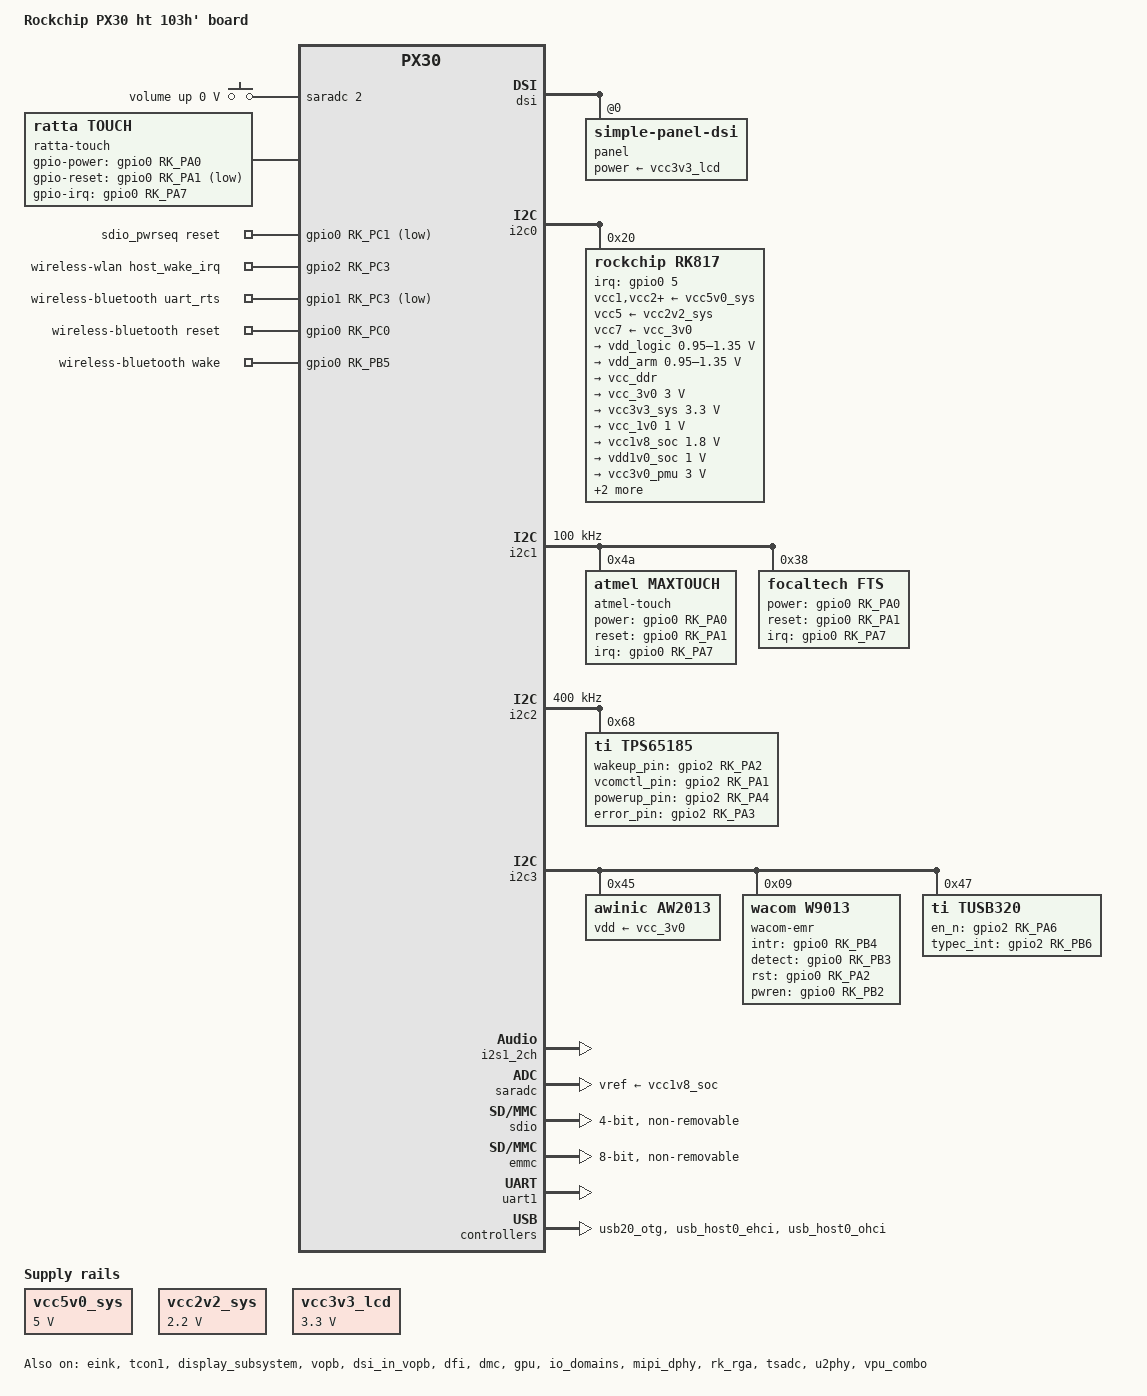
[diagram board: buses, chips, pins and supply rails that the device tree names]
/*
 * Copyright (c) 2017 Fuzhou Rockchip Electronics Co., Ltd
 *
 * SPDX-License-Identifier: (GPL-2.0+ OR MIT)
 */

/dts-v1/;
#include <dt-bindings/gpio/gpio.h>
#include <dt-bindings/pinctrl/rockchip.h>
#include <dt-bindings/input/input.h>
#include <dt-bindings/display/drm_mipi_dsi.h>
#include <dt-bindings/sensor-dev.h>
#include "px30.dtsi"
#include "px30-android.dtsi"
#include "px30-eink.dtsi"

//---------------------EINK PANEL------------------------
#define ES103		//10.3 soft
//#define ES103TC2	//10.3 glass.
//#define ES097
//#define ES060KC1		// 6in 300dpi
//#define ES060XCD		// 6in low solution.
//#define ES100UC1		// 10in glass.

//-----------------PCB VERSION---------------------------
//#define ES060_PCBV2


//-----------------TP/PEN---------------------------
//#define TP_CYT //super78
#define TP_FT5X //super103s
#define TP_ATMEL //super103s
#define TYPEC_HEADSET 

/ {
	model = "Rockchip PX30 ht 103h' board";
	compatible = "rockchip,px30-eink-103h", "rockchip,px30";

	rk_key: rockchip-key {
		compatible = "rockchip,key";
		status = "okay";
		
		#if 0  // 20191223: define at PMIC RK817.
		power-key {
			gpios = <&gpio0 5 GPIO_ACTIVE_LOW>;
			linux,code = <116>;
			pinctrl-names = "default";
			pinctrl-0 = <&pwrbtn>;
			label = "power";
			gpio-key,wakeup;
		};
		#endif 
		
//tanlq 20210923
		hall-key {
			gpios = <&gpio0 RK_PA3 GPIO_ACTIVE_LOW>;
			linux,code = <KEY_SLEEP>; 
			pinctrl-names = "default";
			pinctrl-0 = <&hallbtn>;
			label = "hall";

			// 20191227: 亮屏休眠的情况下，我们需要唤醒系统并进入待机休眠的状态。但是如果是
			// 待机休眠，则不需要有 wakeup 功能
			gpio-key,wakeup;
		};
		
	};

	adc-keys {
		compatible = "adc-keys";
		io-channels = <&saradc 2>;
		io-channel-names = "buttons";
		poll-interval = <100>;
		keyup-threshold-microvolt = <1800000>;
		status = "okay";


/*
		menu-key {
			linux,code = <KEY_MENU>;
			label = "menu";
			press-threshold-microvolt = <987000>;
		};
*/

		vol-up-key {
			linux,code = <KEY_VOLUMEUP>;
			label = "volume up";
			press-threshold-microvolt = <00000>;
		};
	};
	
	hardware {
		compatible =  "ratta,board";
		id = "a5x";
		status = "okay";
	};
#if 0
	hall_sensor {
		compatible =  "ratta,hall";
		pinctrl-names = "default";
		pinctrl-0 = <&hall_sensor_gpio>;
		gpios = <&gpio0 RK_PA3 GPIO_ACTIVE_HIGH>;
		hall-active = <1>;
		pmu-gpio-int-reg-base = <0xff040000>;
		pmu-gpio-int-reg-size = <0x100>;
		pmu-gpio-int-stat = <0x40>;
		pmu-gpio-int-mask = <0x20>;
		status = "okay";
	};

	leds: gpio-leds {
		compatible = "gpio-leds";
		pinctrl-names = "default";
		pinctrl-0 =<&leds_gpio>;
		status = "disabled"; //20191226: we ctrl led at battery-driver.

		led@1 {
			gpios = <&gpio1 RK_PD4 GPIO_ACTIVE_HIGH>; //v3
			label = "battery_led_red";
			retain-state-suspended;
		};

		led@2 {
			gpios = <&gpio1 RK_PD5 GPIO_ACTIVE_HIGH>; //v3
			label = "battery_led_green";
			retain-state-suspended;
		};
	};

	htfyun-hall_observe {
        compatible = "htfyun-hall_observe";
        hall-gpio = <&gpio0 RK_PA3 GPIO_ACTIVE_HIGH>; //v3
        //hall2-gpio = <&gpio1 RK_PD5 GPIO_ACTIVE_LOW>;
        //status = "okay";
	status = "disabled"; //20191226:current use one HALL-GPIO as sleep key.
	};
#endif
#ifdef TP_ATMEL
	ratta-touch {
		compatible = "ratta,touch";
		status = "okay";
		pinctrl-names = "default";
		pinctrl-0 = <&touch_panel_gpio>;
		ratta,gpio-power = <&gpio0 RK_PA0 GPIO_ACTIVE_HIGH>;
		ratta,gpio-reset = <&gpio0 RK_PA1 GPIO_ACTIVE_LOW>;
		ratta,gpio-irq = <&gpio0 RK_PA7 IRQ_TYPE_EDGE_RISING>;
	};
#endif
	rk809-sound {
		compatible = "simple-audio-card";
		simple-audio-card,format = "i2s";
		simple-audio-card,name = "rockchip,rk809-codec";
		simple-audio-card,mclk-fs = <256>;
		simple-audio-card,widgets =
			"Microphone", "Mic Jack",
			"Headphone", "Headphone Jack";
		simple-audio-card,routing =
			"Mic Jack", "MICBIAS1",
			"IN1P", "Mic Jack",
			"Headphone Jack", "HPOL",
			"Headphone Jack", "HPOR";
		simple-audio-card,cpu {
			sound-dai = <&i2s1_2ch>;
		};
		simple-audio-card,codec {
			sound-dai = <&rk809_codec>;
		};
	};
	rk_headset {
		compatible = "rockchip_headset";

		headset_gpio = <&gpio2 RK_PB0 GPIO_ACTIVE_LOW>;
		pinctrl-names = "default";
		pinctrl-0 = <&hp_det>;
		io-channels = <&saradc 1>;
		status = "disabled"; //20191226:use our headset from RK3288.
	};

	sdio_pwrseq: sdio-pwrseq {
		compatible = "mmc-pwrseq-simple";
		/*clocks = <&rk809 1>;*/
		/*clock-names = "ext_clock";*/
		pinctrl-names = "default";
		pinctrl-0 = <&wifi_enable_h>;

		/*
		 * On the module itself this is one of these (depending
		 * on the actual card populated):
		 * - SDIO_RESET_L_WL_REG_ON
		 * - PDN (power down when low)
		 */
		reset-gpios = <&gpio0 RK_PC1 GPIO_ACTIVE_LOW>; /* GPIO0_C1 */
	};

#if 0
	eink_power: eink-power {
		compatible = "regulator-fixed";
		regulator-name = "eink_power";
		gpio = <&gpio0 RK_PB2 GPIO_ACTIVE_HIGH>;
		enable-active-high;
		regulator-boot-on;
		regulator-always-on;
	};

#endif

	
        /*
	htfy_dump: htfy_dump {
		compatible = "htfy_dump";
		dumpmemory-region = <&dumpfs_reserved>;
		status = "disabled";
	};
	*/

	htfyun_headset_det {
		compatible = "htfyun,headset";

		// 20180205,NO-MIC needs.
		//io-channels = <&saradc 2>;
		io-channels = <&saradc 1>;

		#if 1
		// this is the value for xiaomi headset.--empty is 760（NOT insert value)
		// 不带MIC的耳机不能上报是MIC，否则无法录音。所以 mic-adc 用来判断是否插入了带MIC的耳机。
		// 目前的硬件只能支持苹果类型的耳机，诺基亚类型的耳机不支持。
		// ADC值：不插耳机 电压是1.5V，插上耳机电压是0.75V左右，耳机上的按键按下是0V,adc参考电压是 1.8V。
		// 如果耳机是0V，可以认为是不带麦？？如果是按着按键插入耳机呢？需要等待按键松开了才能判断是否带MIC。
		// 所以驱动里面 adc_check_work_callback 函数要有顺序之分。
		// 如果数值 == 0 ，表示只要ADC 大于0就是有MIC（考虑误差之后）。
		// 陈飞的耳机插入后adc值： hs_det:read adc value=676
		// 20180928: 不插入耳机： 1.8V，插入 3段耳机： 0V, 四段耳机 > 0.5V
		// 小米耳机： hs_det:read adc value=692
		mic-adc = <280>;  // 0.5*1023/1.8 = 284

		// if we don't have these key,don't define it!
		//media-adc = <7>;  //media key press.-- if NOT ,don't define.

		// 20180827: don't need UP/DOWN!
		//volup-adc = <75>;  //volup key press. -- if NOT ,don't define.
		//voldown-adc = <162>;  //voldown key preess. -- if NOT ,don't define.
		#else
		// this is the value for apple headset.
		mic-adc = <553>;  //the headset with MIC adc value.
		media-adc = <9>;  //media key press.
		volup-adc = <74>;  //volup key press.
		voldown-adc = <141>;  //voldown key preess.
		#endif

		//debug-adc = <279>;  //the debug adc to report a debug key.-- KEY_RO 89

		//20191226: unplug: LOW , plug: HIGH.
		//headset_gpio = <&gpio0 RK_PA2 GPIO_ACTIVE_HIGH>; //supernote

		// 20170824,this make the music auto play when headset unplug(play internal/external sd)
		//unplug_report_key; // 20170510,weather we want to report media key when heaset unplug

		adc_sample_ms = <150>; // the period when loop to sample adc value.default is 200ms.

		status = "disable";//1.8v上拉电压休眠时会掉，造成耳机中断，不能进入休眠 "okay"; //disabled
  };
#if 0
  regulators { 
  	compatible = "simple-bus"; 
  	#address-cells = <1>; 
  	#size-cells = <0>; 
  	vccio_1v8_reg: regulator@0 {
  	  compatible = "regulator-fixed"; 
  	  regulator-name = "vccio_1v8"; 
  	  regulator-min-microvolt = <1800000>; 
  	  regulator-max-microvolt = <1800000>; 
  	  regulator-state-mem {
			regulator-on-in-suspend;
			regulator-suspend-microvolt = <950000>;
		};
  	}; 
  };
#endif
	vcc5v0_sys: vccsys {
		compatible = "regulator-fixed";
		regulator-name = "vcc5v0_sys";
		regulator-always-on;
		regulator-boot-on;
		regulator-min-microvolt = <5000000>;
		regulator-max-microvolt = <5000000>;
	};

	vcc2v2_sys: vccsys_2v2 {
		compatible = "regulator-fixed";
		regulator-name = "vcc2v2_sys";
		regulator-always-on;
		regulator-boot-on;
		regulator-min-microvolt = <2200000>;
		regulator-max-microvolt = <2200000>;
	};

	vcc3v3_lcd: vcc3v3_lcd {
		compatible = "regulator-fixed";
		regulator-name = "vcc3v3_lcd";
		regulator-always-on;
		regulator-boot-on;
		regulator-min-microvolt = <3300000>;
		regulator-max-microvolt = <3300000>;
	};

	wireless-wlan {
		compatible = "wlan-platdata";
		wifi_chip_type = "ap6256";
		WIFI,host_wake_irq = <&gpio2 RK_PC3 GPIO_ACTIVE_HIGH>;//<&gpio2 RK_PA1 GPIO_ACTIVE_HIGH>;
		
		// 20191223,hsl add. --2019124:this gpio ctrl wifi/i2c2/4g power.so don't ctrl here.
		//WIFI,poweren_gpio = <&gpio0 RK_PA6 GPIO_ACTIVE_HIGH>;
		status = "okay";
	};

	wireless-bluetooth {
		compatible = "bluetooth-platdata";
		clocks = <&rk817 1>;
		clock-names = "ext_clock";
		uart_rts_gpios = <&gpio1 RK_PC3 GPIO_ACTIVE_LOW>;
		pinctrl-names = "default","rts_gpio";
		pinctrl-0 = <&uart1_rts>;
		pinctrl-1 = <&uart1_rts_gpio>;
		BT,reset_gpio = <&gpio0 RK_PC0 GPIO_ACTIVE_HIGH>;
		BT,wake_gpio = <&gpio0 RK_PB5 GPIO_ACTIVE_HIGH>;
		
		// 20191227:这个功能主要用于蓝牙设备唤醒系统，比如蓝牙键盘，目前我们不需要。如果此处定义了，由于系统进入灭屏
		// 休眠后会关闭整组 GPIO2的电源，所以会产生低电平触发，导致系统产生中断而阻止进入休眠.
		//BT,wake_host_irq = <&gpio0 RK_PB7 GPIO_ACTIVE_HIGH>;
		status = "okay";
	};

	fiq-debugger {
			compatible = "rockchip,fiq-debugger";
			status = "okay"; // "okay"; //"disabled";// 
	};
};

&eink {
	status = "okay";
	tcon = <&tcon1>;
	ext_uifc;	// 20210804: 需要额外的 UIFC buffer 来支持 native 手写。
	
	// 20191204: only add for debug. --20191224:use to ctrl power supplay for GPIO/I2C2/WIFI.
	//htfy,dbg-gpio = <&gpio2 RK_PA7 GPIO_ACTIVE_HIGH>;
	//htfy,dbg-gpio = <&gpio0 RK_PA6 GPIO_ACTIVE_HIGH>;
	//pinctrl-names = "default";
	//pinctrl-0 = <&tcon_pwr>;
	
	/* ES103TC1 */
#if defined(ES103)
		panel,width = <1872>;
		panel,height = <1404>;
		panel,vir_width = <1872>;
		panel,vir_height = <1404>;
		panel,sdck = <33300000>;
		panel,pixels-per-sdck = <8>;
		panel,lsl = <11>;
		panel,lbl = <8>;
		panel,ldl = <234>;
		panel,lel = <23>;
		panel,gdck-sta = <10>;
		panel,lgonl = <215>;
		panel,fsl = <1>;
		panel,fbl = <4>;
		panel,fdl = <1404>;
		panel,fel = <2>; // supernote
		panel,vcom-mv = <1560>;
#elif defined(ES103TC2)
		panel,width = <1872>;
		panel,height = <1404>;
		panel,vir_width = <1872>;
		panel,vir_height = <1404>;
		panel,sdck = <33300000>;
		panel,pixels-per-sdck = <8>;
		panel,lsl = <18>;
		panel,lbl = <17>;
		panel,ldl = <234>;
		panel,lel = <7>;
		panel,gdck-sta = <34>;
		panel,lgonl = <192>;
		panel,fsl = <1>;
		panel,fbl = <3>;
		panel,fdl = <1404>;
		panel,fel = <1>;
		panel,vcom-mv = <1710>;
		panel,mirror = <1>;
#elif defined(ES100UC1)
		panel,width = <1600>;
		panel,height = <1200>;
		panel,vir_width = <1600>;
		panel,vir_height = <1200>;
		panel,sdck = <30000000>;
		panel,pixels-per-sdck = <8>;
		panel,lsl = <10>;
		panel,lbl = <7>;
		panel,ldl = <200>;
		panel,lel = <73>;
		panel,gdck-sta = <15>;
		panel,lgonl = <243>;
		panel,fsl = <1>;
		panel,fbl = <4>;
		panel,fdl = <1200>;
		panel,fel = <1>;
		panel,vcom-mv = <1580>;	
#elif defined(ES097)  /* ED097TC2U1 */
		panel,width = <1200>;
		panel,height = <825>;
		panel,vir_width = <1200>;
		panel,vir_height = <832>;
		panel,sdck = <30000000>;
		panel,pixels-per-sdck = <4>;
		panel,lsl = <4>;
		panel,lbl = <4>;
		panel,ldl = <300>;
		panel,lel = <36>;
		panel,gdck-sta = <18>;
		panel,lgonl = <265>;
		panel,fsl = <2>;
		panel,fbl = <4>;
		panel,fdl = <825>;
		panel,fel = <24>;
		panel,vcom-mv = <1930>;
#elif defined(ES060KC1)
	  panel,width = <1448>;
	  panel,height = <1072>;
	  panel,vir_width = <1456>;	//20200904,hsl: 64bit needs 16pixel align,maybe cache problem when memset.
	  panel,vir_height = <1072>;
	  panel,sdck = <40000000>;
	  panel,pixels-per-sdck = <4>;
	  panel,lsl = <14>;
	  panel,lbl = <8>;
	  panel,ldl = <362>;
	  panel,lel = <51>;
	  panel,gdck-sta = <100>;
	  panel,lgonl = <281>;
	  panel,fsl = <2>;
	  panel,fbl = <4>;
	  panel,fdl = <1072>;
	  panel,fel = <4>;
	  panel,vcom-mv = <2250>;
#elif defined(ES060XCD)
	  panel,width = <1024>;
	  panel,height = <758>;
	  panel,vir_width = <1024>;	 
	  panel,vir_height = <758>;
	  panel,sdck = <20000000>;
	  panel,pixels-per-sdck = <4>;
	  panel,lsl = <6>;
	  panel,lbl = <6>;
	  panel,ldl = <256>;
	  panel,lel = <38>;
	  panel,gdck-sta = <4>;
	  panel,lgonl = <262>;
	  panel,fsl = <2>;
	  panel,fbl = <4>;
	  panel,fdl = <758>;
	  panel,fel = <5>;
	  panel,vcom-mv = <2250>;
#else
	 "***Please Define EINK-PANEL first!!***"
#endif
};

&tcon1 {
	status = "okay";
};

// 20191005: the size is about 7* vir_w * vir_h .
// fb_new/fb_old/fc/idx/auto/2*lcdc/wv_buf.
// ReservedMem:total size=6291456,lcd data size=1568800,fb_size=2628288,remain=1034880
// 20191120: 6*fb_size + 2*lcd_size + 1M.   
// 20210804：增加一个 fb_size 用于存放 ptr-ui-fc.
&display_reserved {
	reg = <0x0 0x10000000 0x0 0x1500000>;
	no-map;
};


&display_subsystem {
	force-disconnected;
	status = "okay";
};

&vopb {
	status = "okay";
};

&vopb_mmu {
	status = "okay";
};

&vopl {
	status = "disabled";
};

&vopl_mmu {
	status = "disabled";
};

&dsi {
	status = "okay";

	panel@0 {
		compatible = "simple-panel-dsi";
		reg = <0>;
		power-supply = <&vcc3v3_lcd>; // supernote
		prepare-delay-ms = <2>;
		reset-delay-ms = <1>;
		init-delay-ms = <20>;
		enable-delay-ms = <120>;
		disable-delay-ms = <50>;
		unprepare-delay-ms = <20>;

		width-mm = <68>;
		height-mm = <121>;

		dsi,flags = <(MIPI_DSI_MODE_VIDEO | MIPI_DSI_MODE_VIDEO_BURST |
			      MIPI_DSI_MODE_LPM | MIPI_DSI_MODE_EOT_PACKET)>;
		dsi,format = <MIPI_DSI_FMT_RGB888>;
		dsi,lanes = <4>;
		display-timings {
			native-mode = <&timing0>;

			timing0: timing0 {
				clock-frequency = <64000000>;
				hactive = <720>;
				vactive = <1280>;
				hfront-porch = <40>;
				hsync-len = <10>;
				hback-porch = <40>;
				vfront-porch = <22>;
				vsync-len = <4>;
				vback-porch = <11>;
				hsync-active = <0>;
				vsync-active = <0>;
				de-active = <0>;
				pixelclk-active = <0>;
			};
		};
	};
};

&dsi_in_vopl {
	status = "disabled";
};

&dsi_in_vopb {
        status = "okay";
};

&route_dsi {
	status = "disabled";
};

&bus_apll {
	bus-supply = <&vdd_logic>;
	status = "okay";
};

&cpu0 {
	cpu-supply = <&vdd_arm>;
};

&dfi {
	status = "okay";
};

&dmc {
	center-supply = <&vdd_logic>;
	status = "okay";
};

&gpu {
	mali-supply = <&vdd_logic>;
	status = "okay";
};

&i2c0 {
	status = "okay";

	rk817: pmic@20 {
		compatible = "rockchip,rk817";
		reg = <0x20>;
		interrupt-parent = <&gpio0>;
		interrupts = <5 IRQ_TYPE_LEVEL_LOW>;
		pinctrl-names = "default", "pmic-sleep";
				//"pmic-power-off", "pmic-reset";
		pinctrl-0 = <&pmic_int>, <&rk817_pin_gt>;
		pinctrl-1 = <&soc_slppin_slp>, <&rk817_slppin_slp>;
		//pinctrl-2 = <&soc_slppin_gpio>, <&rk817_slppin_pwrdn>;
		//pinctrl-3 = <&soc_slppin_rst>, <&rk817_slppin_rst>;
		rockchip,system-power-controller;
		wakeup-source;
		#clock-cells = <1>;
		clock-output-names = "rk808-clkout1", "rk808-clkout2";
		//fb-inner-reg-idxs = <2>;
		/* 1: rst regs (default in codes), 0: rst the pmic */
		pmic-reset-func = <0>;
		pmic-sleep-reverse;

		vcc1-supply = <&vcc5v0_sys>;
		vcc2-supply = <&vcc5v0_sys>;
		vcc3-supply = <&vcc5v0_sys>;
		vcc4-supply = <&vcc5v0_sys>;
		vcc5-supply = <&vcc2v2_sys>;
		vcc6-supply = <&vcc5v0_sys>;
		vcc7-supply = <&vcc_3v0>;
		vcc8-supply = <&vcc5v0_sys>;
		vcc9-supply = <&vcc5v0_sys>;

		pwrkey {
			status = "okay";
		};

		pinctrl_rk8xx: pinctrl_rk8xx {
			gpio-controller;
			#gpio-cells = <2>;

			rk817_ts_gpio1: rk817_ts_gpio1 {
				pins = "gpio_ts";
				function = "pin_fun1";
				/* output-low; */
				/* input-enable; */
			};

			rk817_gt_gpio2: rk817_gt_gpio2 {
				pins = "gpio_gt";
				function = "pin_fun1";
			};

			rk817_pin_ts: rk817_pin_ts {
				pins = "gpio_ts";
				function = "pin_fun0";
			};

			rk817_pin_gt: rk817_pin_gt {
				pins = "gpio_gt";
				function = "pin_fun0";
			};

			rk817_slppin_null: rk817_slppin_null {
				pins = "gpio_slp";
				function = "pin_fun0";
			};

			rk817_slppin_slp: rk817_slppin_slp {
				pins = "gpio_slp";
				function = "pin_fun1";
			};

			rk817_slppin_pwrdn: rk817_slppin_pwrdn {
				pins = "gpio_slp";
				function = "pin_fun2";
			};

			rk817_slppin_rst: rk817_slppin_rst {
				pins = "gpio_slp";
				function = "pin_fun3";
			};
		};

		regulators {
			vdd_logic: DCDC_REG1 {
				regulator-always-on;
				regulator-boot-on;
				regulator-min-microvolt = <950000>;
				regulator-max-microvolt = <1350000>;
				regulator-ramp-delay = <6001>;
				regulator-initial-mode = <0x2>;
				regulator-name = "vdd_logic";
				regulator-state-mem {
					regulator-on-in-suspend;
					regulator-suspend-microvolt = <950000>;
				};
			};

			vdd_arm: DCDC_REG2 {
				regulator-always-on;
				regulator-boot-on;
				regulator-min-microvolt = <950000>;
				regulator-max-microvolt = <1350000>;
				regulator-ramp-delay = <6001>;
				regulator-initial-mode = <0x2>;
				regulator-name = "vdd_arm";
				regulator-state-mem {
					regulator-off-in-suspend;
					regulator-suspend-microvolt = <950000>;
				};
			};

			vcc_ddr: DCDC_REG3 {
				regulator-always-on;
				regulator-boot-on;
				regulator-name = "vcc_ddr";
				regulator-initial-mode = <0x2>;
				regulator-state-mem {
					regulator-on-in-suspend;
				};
			};

			vcc_3v0: DCDC_REG4 {
				regulator-always-on;
				regulator-boot-on;
				regulator-min-microvolt = <3000000>;
				regulator-max-microvolt = <3000000>;
				regulator-initial-mode = <0x2>;
				regulator-name = "vcc_3v0";
				regulator-state-mem {
					regulator-on-in-suspend;  // 20210713: on when screen-on sleep for TP/PEN. 
					regulator-off-in-suspend;  
					regulator-suspend-microvolt = <3000000>;
				};
			};

			vcc3v3_sys: DCDC_REG5 {
				regulator-always-on;
				regulator-boot-on;
				regulator-min-microvolt = <3300000>;
				regulator-max-microvolt = <3300000>;
				regulator-name = "vcc3v3_sys";
				regulator-state-mem {
					regulator-on-in-suspend;
					regulator-suspend-microvolt = <3300000>;
				};
			};

			vcc_1v0: LDO_REG1 {
				regulator-always-on;
				regulator-boot-on;
				regulator-min-microvolt = <1000000>;
				regulator-max-microvolt = <1000000>;
				regulator-name = "vcc_1v0";
				regulator-state-mem {
					regulator-off-in-suspend;
					regulator-suspend-microvolt = <1000000>;
				};
			};

			vcc1v8_soc: LDO_REG2 {
				regulator-always-on;
				regulator-boot-on;
				regulator-min-microvolt = <1800000>;
				regulator-max-microvolt = <1800000>;

				regulator-name = "vcc1v8_soc";
				regulator-state-mem {
					regulator-on-in-suspend;
					regulator-suspend-microvolt = <1800000>;
				};
			};

			vdd1v0_soc: LDO_REG3 {
				regulator-always-on;
				regulator-boot-on;
				regulator-min-microvolt = <1000000>;
				regulator-max-microvolt = <1000000>;

				regulator-name = "vcc1v0_soc";
				regulator-state-mem {
					regulator-on-in-suspend;
					regulator-suspend-microvolt = <1000000>;
				};
			};

			vcc3v0_pmu: LDO_REG4 {
				regulator-always-on;
				regulator-boot-on;
				regulator-min-microvolt = <3000000>;
				regulator-max-microvolt = <3000000>;

				regulator-name = "vcc3v0_pmu";
				regulator-state-mem {
					regulator-on-in-suspend;
					regulator-suspend-microvolt = <3000000>;

				};
			};

			vccio_sd: LDO_REG5 {
				regulator-boot-on;
				regulator-min-microvolt = <1800000>;
				regulator-max-microvolt = <3300000>;

				regulator-name = "vccio_sd";
				regulator-state-mem {
					//regulator-on-in-suspend;//tanlq 191024
					regulator-off-in-suspend;
					regulator-suspend-microvolt = <3300000>;
				};
			};
			
			// 20191227:don't use
			vcc_sd: LDO_REG6 {
				//regulator-boot-on;
				//regulator-always-on;	 
				regulator-min-microvolt = <3300000>;
				regulator-max-microvolt = <3300000>;

				regulator-name = "vcc_sd";
				regulator-state-mem {
					//regulator-on-in-suspend; 
					regulator-off-in-suspend; 
					regulator-suspend-microvolt = <3300000>;

				};
			};

			vcc2v8_dvp: LDO_REG7 {
				regulator-always-on;
				regulator-boot-on;
				regulator-min-microvolt = <2800000>;
				regulator-max-microvolt = <2800000>;

				regulator-name = "vcc2v8_dvp";
				regulator-state-mem {
					regulator-off-in-suspend;
					regulator-suspend-microvolt = <2800000>;
				};
			};

			vcc1v8_dvp: LDO_REG8 {
				regulator-always-on;
				regulator-boot-on;
				regulator-min-microvolt = <1800000>;
				regulator-max-microvolt = <1800000>;

				regulator-name = "vcc1v8_dvp";
				regulator-state-mem {
					regulator-off-in-suspend;
					regulator-on-in-suspend;
					regulator-suspend-microvolt = <1800000>;
				};
			};

			vdd1v5_dvp: LDO_REG9 {	
				regulator-always-on;
				regulator-boot-on;
				regulator-min-microvolt = <1500000>;
				regulator-max-microvolt = <1500000>;

				regulator-name = "vdd1v5_dvp";
				
				// 20191207, use for wacom power. and ctrl by fb when suspend.
				regulator-state-mem {
					regulator-off-in-suspend;		
					regulator-on-in-suspend;
					regulator-suspend-microvolt = <1500000>;
				};
			
			};

			dcdc_boost: BOOST {
				regulator-always-on;
				regulator-boot-on;
				regulator-min-microvolt = <4700000>;
				regulator-max-microvolt = <5400000>;
				regulator-name = "boost";
			};

			otg_switch: OTG_SWITCH {
				regulator-boot-on;
				regulator-name = "otg_switch";
			};
		};
		battery {
			compatible = "rk817,battery";
			ocv_table = <3400 3648 3679 3711 3733 3750 3762
				3774 3788 3807 3830 3862 3910 3955
				3993 4055 4105 4161 4219 4279 4346>;
			design_capacity = <3953>;	// 这个是 FCC 。
			design_qmax = <4180>;		// 20210227,hsl: 这个值限定了电池充满后最大的可能电量。
			bat_res = <100>;			// 这个是 电池内阻。
			sleep_enter_current = <300>;
			sleep_exit_current = <300>;
			sleep_filter_current = <100>;
			power_off_thresd = <3500>;    //20210225,hsl change.
			zero_algorithm_vol = <3950>;
			max_soc_offset = <60>;
			monitor_sec = <10>;  //20191229,hsl fix.
			sample_res = <10>;		// 这个是采样电阻，目前用的是 10毫欧。
			virtual_power = <0>;
		
			// 20191229,hsl add.
			pinctrl-names = "default";
			//pinctrl-0 =<&leds_gpio>; supernote 暂时屏蔽
			//rled_gpios = <&gpio2 RK_PB0 GPIO_ACTIVE_HIGH>; // V3 light on high.
			//gled_gpios = <&gpio2 RK_PB2 GPIO_ACTIVE_HIGH>; // v3
			
			// 20211028: 根据supernote需求增加 2个LED电量指示：
			/*
			红色长亮（充电状态下）：电池电量低。(<20%)
			黄色长亮（充电状态下）：电池电量中。(21%-80%)
			黄色长亮（充电状态下）：电池电量高。(81%-99%)
			绿色亮（充电状态下）：充电接近完成或已经完成。（>99%）
			红灯亮：电量低于1%
			*/
			tri-led = <20 80 99 1>;

		};

		charger {
			compatible = "rk817,charger";
			min_input_voltage = <4500>;
			max_input_current = <1800>;	// 20191230,hsl fix.
			max_chrg_current = <2000>;
			max_chrg_voltage = <4350>;
			chrg_term_mode = <0>;  // 0: CHRG_ANALOG, 1: CHRG_DIGITAL
			chrg_finish_cur = <150>;  // 20210227: 墨水屏上面亮屏待机情况下，功耗比较少，可以改低这个值.
			virtual_power = <0>;
			dc_det_adc = <0>;
			extcon = <&u2phy>;
		};

		rk809_codec: codec {
			#sound-dai-cells = <0>;
			compatible = "rockchip,rk809-codec", "rockchip,rk817-codec";
			clocks = <&cru SCLK_I2S1_OUT>;
			clock-names = "mclk";
			pinctrl-names = "default";
			pinctrl-0 = <&i2s1_2ch_mclk>;
			hp-volume = <20>;
			spk-volume = <3>;
			status = "okay";
		};
	};

};

#define MXT_SUSPEND_DEEP_SLEEP 0
&i2c1 {
	status = "okay";

	clock-frequency = <100000>;
	pinctrl-names = "default";
	//power-gpio = <&gpio0 RK_PA6 GPIO_ACTIVE_HIGH>;
#ifdef TP_ATMEL
	atmel-touch@4a {
		reg = <0x4a>;
		compatible = "atmel,maxtouch";
		status = "okay";
		interrupt-parent = <&gpio0>;
		interrupts = <RK_PA7 IRQ_TYPE_EDGE_FALLING>;
		atmel,power-gpio =<&gpio0 RK_PA0 GPIO_ACTIVE_HIGH>;
		atmel,reset-gpio = <&gpio0 RK_PA1 GPIO_ACTIVE_HIGH>;
		atmel,suspend-mode = <MXT_SUSPEND_DEEP_SLEEP>;
		atmel,cfg_name="maxtouch_a5x.cfg";
		atmel,cfg_name1="maxtouch.raw";//maxtouch_a5x.cfg";
		atmel,cfg_name2="maxtouch874.raw";//maxtouch_a5x.cfg";
		atmel,fw_name="maxtouch_a5x_2.3.AC.fw";
		atmel,xres = <1400>;
		atmel,yres = <1871>;
	};
#endif
#ifdef TP_FT5X	
		focaltech@38{ 
			compatible = "focaltech,fts";	
			reg = <0x38>;  					
			interrupt-parent = <&gpio0>;				
			interrupts = <RK_PA7 IRQ_TYPE_EDGE_FALLING>;
			pinctrl-names = "default";
			pinctrl-0 = <&touch_panel_gpio>;
			focaltech,power-gpio =<&gpio0 RK_PA0 GPIO_ACTIVE_HIGH>;
			focaltech,reset-gpio = <&gpio0 RK_PA1 GPIO_ACTIVE_HIGH>; 
			focaltech,irq-gpio = <&gpio0 RK_PA7 IRQ_TYPE_EDGE_FALLING>; 	
			focaltech,max-touch-number = <10>;			
			focaltech,display-coords =  <0 0 1872 1404>;	 
			exchange_x_y_flag = <0>;
			revert_x_flag = <1>;
			revert_y_flag = <0>;
			//pinctrl-names = "pmx_ts_active","pmx_ts_suspend","pmx_ts_release";
			//pinctrl-0 = <&ts_active>;//<&ts_power_active>, <&ts_int_active>, <&ts_reset_active>;
			//pinctrl-1 = <&ts_suspend>;//<&ts_power_suspend &ts_int_suspend &ts_reset_suspend>;
			//pinctrl-2 = <&ts_release>;

			/*
			focaltech,have-key;
			focaltech,key-number = <3>;	
			focaltech,keys = <139 102 158>; 	
			focaltech,key-x-coords = <200 600 800>;
			focaltech,key-y-coords = <2000 2000 2000>; 
			*/
		};
#endif
};

&i2c2 {
	status = "okay";

	clock-frequency = <400000>;

	/* These are relatively safe rise/fall times; TODO: measure */
	//i2c-scl-falling-time-ns = <60>;
	//i2c-scl-rising-time-ns = <350>;
	
	tps65185@68 {
		status = "okay";
		compatible = "ti,tps65185";
		reg = <0x68>;
		pinctrl-names = "default";
		pinctrl-0 = <&tps65185_gpio>;
		wakeup_pin = <&gpio2 RK_PA2 GPIO_ACTIVE_HIGH>;
		vcomctl_pin = <&gpio2 RK_PA1 GPIO_ACTIVE_HIGH>;
		powerup_pin = <&gpio2 RK_PA4 GPIO_ACTIVE_HIGH>;
		//eink_int_pin = <&gpio2 RK_PA6 GPIO_ACTIVE_LOW>;//<&gpio0 RK_PB7 GPIO_ACTIVE_LOW>;
		error_pin = <&gpio2 RK_PA3 GPIO_ACTIVE_HIGH>; //<&gpio0 RK_PA1 GPIO_ACTIVE_HIGH>;
		//poweren_pin = <&gpio2 RK_PA5 GPIO_ACTIVE_HIGH>;
	};

};

&i2c3 {
	status = "okay";
	awinic: aw2013@45{
		compatible = "awinic,aw2013";
		reg = <0x45>;
		vdd-supply = <&vcc_3v0>;
		pinctrl-names = "default";
		pinctrl-0 = <&awinic_gpio>;
		
		aw2013,red {
			aw2013,name = "red";
			aw2013,id = <0>;
			aw2013,max-brightness = <255>;
			aw2013,max-current = <1>;
			aw2013,rise-time-ms = <2>;
			aw2013,hold-time-ms = <1>;
			aw2013,fall-time-ms = <2>;
			aw2013,off-time-ms = <1>;
		};

		aw2013,green {
			aw2013,name = "green";
			aw2013,id = <1>;
			aw2013,max-brightness = <255>;
			aw2013,max-current = <1>;
			aw2013,rise-time-ms = <2>;
			aw2013,hold-time-ms = <1>;
			aw2013,fall-time-ms = <2>;
			aw2013,off-time-ms = <1>;
		};

		aw2013,blue {
			aw2013,name = "blue";
			aw2013,id = <2>;
			aw2013,max-brightness = <255>;
			aw2013,max-current = <1>;
			aw2013,rise-time-ms = <2>;
			aw2013,hold-time-ms = <1>;
			aw2013,fall-time-ms = <2>;
			aw2013,off-time-ms = <1>;
		};
	};
#if 0
	wacom@09 {
		compatible = "hid-over-i2c";
		reg = <0x09>;

		irq_gpio = <&gpio0 RK_PB4 GPIO_ACTIVE_LOW>; //GPIO0 A7

		pwr_gpio = <&gpio0 RK_PB2 GPIO_ACTIVE_HIGH>; //GPIO0 B3
		reset_gpio = <&gpio0 RK_PA2 GPIO_ACTIVE_LOW>;  // GPIO0 B4

		//NO-PEN:high, detect pen: low.
		pendet_gpio = <&gpio0 RK_PB3 GPIO_ACTIVE_LOW>; //GPIO0 B1

		// 20180212,hsl add fb_notify support.
		hid-support-wakeup;

		hid-descr-addr = <0x0001>;
		//vcc-supply = <&gpio7 14  GPIO_ACTIVE_LOW>;
		//vcc-supply = <&vdd1v5_dvp>;
		//power-gpio = <&gpio7 14  GPIO_ACTIVE_LOW>;
		//wakeup-source; // 20180913,hsl rm.

	   status= "okay"; // "disabled"; //okay";
	};
#else
	wacom-emr@09 {
		compatible = "wacom,w9013";
		reg = <0x09>;
		status = "okay";
		pinctrl-names = "default";
		pinctrl-0 = <&wacom_emr_gpio>;
		gpio_intr = <&gpio0 RK_PB4 GPIO_ACTIVE_HIGH>;
		gpio_detect = <&gpio0 RK_PB3 GPIO_ACTIVE_HIGH>;
		gpio_rst = <&gpio0 RK_PA2 GPIO_ACTIVE_HIGH>;
		gpio_pwren = <&gpio0 RK_PB2 GPIO_ACTIVE_HIGH>;
		wacom,fw_name="wacom_a5x.fw";
		wacom,fw_name_ft="W9021_0309.fw";
		//x-flip;
		//y-flip;
	};
#endif
#if defined(TYPEC_HEADSET)
	tusb320@0x47 {
		status = "okay";
		compatible = "ti,tusb320";
		reg = <0x47>;
		pinctrl-names = "default";
		pinctrl-0 = <&tusb320_gpio>;
		en_n = <&gpio2 RK_PA6 GPIO_ACTIVE_HIGH>;
		typec_int = <&gpio2 RK_PB6 GPIO_ACTIVE_HIGH>;
	 };
#endif

};

&i2s1_2ch {
	status = "okay";
	#sound-dai-cells = <0>;
};

&io_domains {
	status = "okay";

	vccio1-supply = <&vcc1v8_dvp>;
	vccio2-supply = <&vcc1v8_dvp>;
	vccio3-supply = <&vcc_3v0>;
	vccio4-supply = <&vcc2v8_dvp>;
	vccio5-supply = <&vcc1v8_dvp>;
};

&isp_mmu {
	status = "disabled"; //for camera
};


&mipi_dphy {
	status = "okay";
};

&nandc0 {
	status = "disabled";
};

&pinctrl {
	headphone {
		hp_det: hp-det {
			rockchip,pins = <2 RK_PB0 RK_FUNC_GPIO &pcfg_pull_down>;
		};
	};
	
	tps_pmic {
        tps65185_gpio: tps65185-gpio {
        rockchip,pins =
				/* E_PMIC_INT */
				<2 RK_PB2 RK_FUNC_GPIO &pcfg_pull_up>,
				/* E_PMIC_VCOM_CTL */
				<2 RK_PA1 RK_FUNC_GPIO &pcfg_pull_up>,
				/* E_PMIC_WAKEUP */
				<2 RK_PA2 RK_FUNC_GPIO &pcfg_pull_up>,
				/* E_PMIC_PG */
				<2 RK_PA3 RK_FUNC_GPIO &pcfg_pull_up>,
				/* E_PMIC_ON/PWRUP */
				<2 RK_PA4 RK_FUNC_GPIO &pcfg_pull_up>,
				/* E_PWR_EN */
				<2 RK_PA5 RK_FUNC_GPIO &pcfg_pull_up>;
        };
	};

	input-dev {
		wacom_emr_gpio: wacom-emr-gpio {
			rockchip,pins =
				/* EMR_INT */
				<0 RK_PB4 RK_FUNC_GPIO &pcfg_pull_none>,
				/* EMR_RST */
				<0 RK_PA2 RK_FUNC_GPIO &pcfg_pull_up>,
				/* EMR_PDCTB */
				<0 RK_PB3 RK_FUNC_GPIO &pcfg_pull_none>,
				/* EMR_PWR_EN */
				<0 RK_PB2 RK_FUNC_GPIO &pcfg_pull_up>;
		};
#if 1//def TP_ATMEL
		touch_panel_gpio: touch-panel-gpio {
			rockchip,pins =
				/* TP_INT */
				<0 RK_PA7 RK_FUNC_GPIO &pcfg_pull_up>,
				/* TP_RST */
				<0 RK_PA1 RK_FUNC_GPIO &pcfg_pull_down>,
				/* TP_PWR_EN */
				<0 RK_PA0 RK_FUNC_GPIO &pcfg_pull_down>;
		};
#endif

	};

	pmic {
		pmic_int: pmic_int {
			rockchip,pins =
				<0 RK_PA5 RK_FUNC_GPIO &pcfg_pull_up>;
		};

		soc_slppin_gpio: soc_slppin_gpio {
			rockchip,pins =
				<0 RK_PA4 RK_FUNC_GPIO &pcfg_output_low>;
		};

		soc_slppin_slp: soc_slppin_slp {
			rockchip,pins =
				<0 RK_PA4 RK_FUNC_1 &pcfg_pull_none>;
		};

		soc_slppin_rst: soc_slppin_rst {
			rockchip,pins =
				<0 RK_PA4 RK_FUNC_2 &pcfg_pull_none>;
		};
	};

	sdio-pwrseq {
		wifi_enable_h: wifi-enable-h {
			rockchip,pins = <0 RK_PC1 RK_FUNC_GPIO &pcfg_pull_none>;
		};
	};

	wireless {
		wlan_gpios: wlan-gpios {
			/* reset gpio */
			rockchip,pins =
				/* wake host gpio */
				//<0 RK_PB6 RK_FUNC_GPIO &pcfg_pull_down>,
				/* power ctl gpio */
				<2 RK_PC3 RK_FUNC_GPIO &pcfg_pull_down>;
		};

		bt_gpios: bt-gpios {
			/* reset gpio */
			rockchip,pins =
				/* reset gpio */
				<0 RK_PC0 RK_FUNC_GPIO &pcfg_pull_down>,
				/* wake bt gpio */
				<0 RK_PB5 RK_FUNC_GPIO &pcfg_pull_down>,
				/* wake host gpio */
				<0 RK_PB7 RK_FUNC_GPIO &pcfg_pull_down>;
		};
	};
	buttons {
		hallbtn: hallbtn {
			rockchip,pins = <0 RK_PA3 RK_FUNC_GPIO &pcfg_pull_up>;
		};

		//gpiohome: gpiohome {
		//	rockchip,pins = <0 RK_PC1 RK_FUNC_GPIO &pcfg_pull_down>; //v3
		//};

		//gpiodown: gpiodown {
		//	rockchip,pins = <0 RK_PB4 RK_FUNC_GPIO &pcfg_pull_up>; //v3
		//};
	};
	led {
		awinic_gpio: awinic-gpio {
			rockchip,pins = <2 RK_PA7 RK_FUNC_GPIO &pcfg_pull_none>;
	       };
	};

	ratta {
		board_id_gpio: board-id-gpio {
			rockchip,pins = <2 RK_PB3 RK_FUNC_GPIO &pcfg_pull_down>,
							<2 RK_PB0 RK_FUNC_GPIO &pcfg_pull_down>,
							<2 RK_PB1 RK_FUNC_GPIO &pcfg_pull_down>;
		};
	};
#if 0//def TP_FT5X
	focaltech {

		ts_power_active: ts_power_active {
			rockchip,pins =
				<0 RK_PA5 RK_FUNC_GPIO &pcfg_pull_up>;
		};

		ts_int_active: ts_int_active {
			rockchip,pins =
				<0 RK_PA5 RK_FUNC_GPIO &pcfg_pull_up>;
		};
		
		ts_reset_active: ts_reset_active {
			rockchip,pins =
				<0 RK_PA5 RK_FUNC_GPIO &pcfg_pull_up>;
		};

		ts_power_suspend: ts_power_suspend {
			rockchip,pins =
				<0 RK_PA4 RK_FUNC_GPIO &pcfg_output_low>;
		};

		ts_int_suspend: ts_int_suspend {
			rockchip,pins =
				<0 RK_PA4 RK_FUNC_GPIO &pcfg_output_low>;
		};

		ts_active: ts_active {
			rockchip,pins =
				<0 RK_PA0 RK_FUNC_GPIO &pcfg_pull_up>,
				<0 RK_PA7 RK_FUNC_GPIO &pcfg_pull_up>,
				<0 RK_PA1 RK_FUNC_GPIO &pcfg_pull_up>;
		};

		ts_suspend: ts_suspend {
			rockchip,pins =
				<0 RK_PA0 RK_FUNC_GPIO &pcfg_pull_up>,
				<0 RK_PA7 RK_FUNC_GPIO &pcfg_pull_up>,
				<0 RK_PA1 RK_FUNC_GPIO &pcfg_pull_up>;
		};

		ts_release: ts_release {
			rockchip,pins =
				<0 RK_PA0 RK_FUNC_GPIO &pcfg_pull_none>,
				<0 RK_PA7 RK_FUNC_GPIO &pcfg_pull_none>,
				<0 RK_PA1 RK_FUNC_GPIO &pcfg_pull_none>;
		};

	};
#endif
	typec {
		tusb320_gpio: tusb320-gpio{
			rockchip,pins =
			    <2 RK_PA6 RK_FUNC_GPIO &pcfg_pull_down>, 
			    <2 RK_PB6 RK_FUNC_GPIO &pcfg_pull_up>;
     		 };
	};
};

&pmu_io_domains {
	status = "okay";

	pmuio1-supply = <&vcc3v0_pmu>;
	pmuio2-supply = <&vcc3v0_pmu>;
};

&rk_rga {
	status = "okay";
};

&rockchip_suspend {
	status = "okay";
	rockchip,sleep-debug-en = <1>;
	
	// 20210713: copy from ratta-sn103.dts, support ultra sleep.
	rockchip,sleep-mode-config = <
		(0
		| RKPM_SLP_ARMOFF
		| RKPM_SLP_PMU_HW_PLLS_PD
		| RKPM_SLP_PMU_PMUALIVE_32K
		| RKPM_SLP_PMU_DIS_OSC
		| RKPM_SLP_PMIC_LP
		| RKPM_SLP_PIN_REVERSE
		)
	>;
	rockchip,ultra-sleep-mode-config = <RKPM_SLP_ULTRA>;
	rockchip,pwm-regulator-config = <RKPM_SLP_LDO2_ON>;
};

&saradc {
	status = "okay";
	vref-supply = <&vcc1v8_soc>;
};

&sdmmc {
	bus-width = <4>;
	cap-mmc-highspeed;
	cap-sd-highspeed;
	supports-sd;
	card-detect-delay = <800>;
	ignore-pm-notify;
	/*cd-gpios = <&gpio2 4 GPIO_ACTIVE_HIGH>; [> CD GPIO <]*/
	sd-uhs-sdr12;
	sd-uhs-sdr25;
	sd-uhs-sdr50;
	sd-uhs-sdr104;
	vqmmc-supply = <&vccio_sd>;
	vmmc-supply = <&vcc_sd>;
	//tanlq close for uart debug
	status = "disabled";//"okay";
};

&sdio {
	bus-width = <4>;
	cap-sd-highspeed;
	supports-sdio;
	ignore-pm-notify;
	keep-power-in-suspend;
	max-frequency = <50000000>;  // default 150M. 2.0 max freq 50M.
	non-removable;
	mmc-pwrseq = <&sdio_pwrseq>;
	//sd-uhs-sdr104;	// only use at sdio3.0
	sd-uhs-sdr50;
	rockchip,default-sample-phase = <90>;
	status = "okay";
};

&emmc {
	bus-width = <8>;
	cap-mmc-highspeed;
	max-frequency = <100000000>;
	mmc-hs200-1_8v;
	supports-emmc;
	keep-power-in-suspend; // 20191204,hsl add.
	disable-wp;
	non-removable;
	num-slots = <1>;
	status = "okay";
};

&tsadc {
	pinctrl-names = "init", "default";
	pinctrl-0 = <&tsadc_otp_gpio>;
	pinctrl-1 = <&tsadc_otp_out>;
	status = "okay";
};

&uart1 {
	pinctrl-names = "default";
	pinctrl-0 = <&uart1_xfer &uart1_cts>;
	status = "okay";
};

&u2phy {
	status = "okay";

	u2phy_host: host-port {
		status = "okay";
	};

	u2phy_otg: otg-port {
		status = "okay";
	};
};

&usb20_otg {
	status = "okay";
};

&usb_host0_ehci {
	status = "okay";
};

&usb_host0_ohci {
	status = "okay";
};

&vpu_combo {
	status = "okay";
};

&dmc_opp_table {
		opp-194000000 {
            status = "disabled";
        };
              
        opp-328000000 {
            status = "disabled";
        };
              
        opp-450000000 {
            status = "disabled";
        };
		
		opp-666000000 {
			status = "disabled";
		};
};

&firmware_android {
	compatible = "android,firmware";
	fstab {
		compatible = "android,fstab";
		system {
			compatible = "android,system";
			dev = "/dev/block/by-name/system";
			type = "ext4";
			mnt_flags = "ro,barrier=1,inode_readahead_blks=8";
			fsmgr_flags = "wait";
		};
		vendor {
			compatible = "android,vendor";
			dev = "/dev/block/by-name/vendor";
			type = "ext4";
			mnt_flags = "ro,barrier=1,inode_readahead_blks=8";
			fsmgr_flags = "wait";
		};
	};
};

&chosen {
	// 20210121-hsl: disable selinux for Z1 -- androidboot.selinux=permissive
	bootargs = "earlyprintk=uart8250,mmio32,0xff160000 androidboot.selinux=permissive swiotlb=1 console=ttyFIQ0 androidboot.baseband=N/A androidboot.veritymode=enforcing androidboot.hardware=rk30board androidboot.console=ttyFIQ0 init=/init kpti=0";
};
